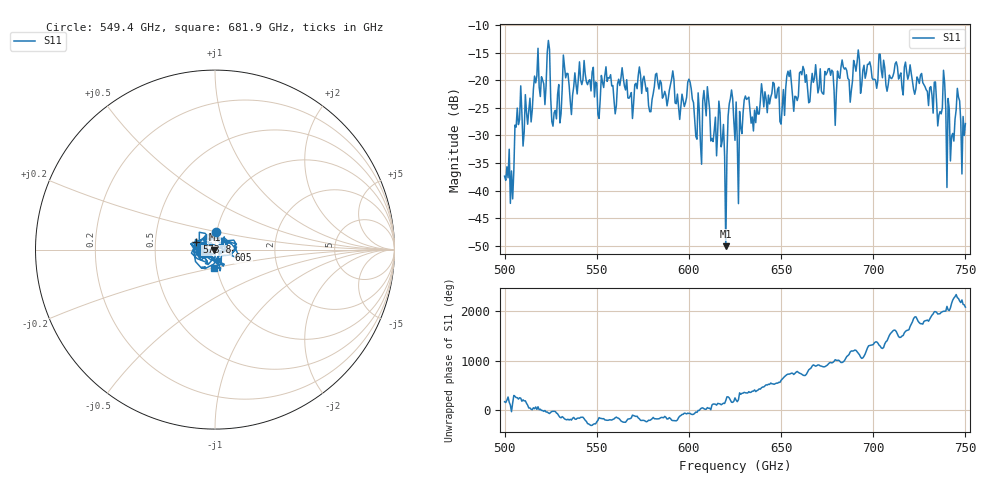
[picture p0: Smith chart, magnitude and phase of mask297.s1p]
!Created with skrf (http://scikit-rf.org).
# GHz S MA R 50.0
!freq magS11 angS11
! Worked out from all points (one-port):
!   401 points, 500 GHz to 750 GHz, reference 50 ohm
!   lowest |S11| = -50.1 dB at 620 GHz (marker M1), VSWR 1.01, Z = 49.7 - j0.0852 ohm
!   |S11| at or under -10 dB: start of sweep to end of sweep
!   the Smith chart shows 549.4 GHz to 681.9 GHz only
!   S11 on the Smith chart (normalised r, x): 549.4 GHz: 0.99, +0.19; 573.8 GHz: 0.81, +0.07; 605 GHz: 1.17, -0.01; 681.9 GHz: 0.97, -0.20
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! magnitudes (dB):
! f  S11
! 500 GHz  -37.4
! 503.8 GHz  -36.4
! 507.5 GHz  -28.0
! 513.8 GHz  -23.2
! 516.9 GHz  -20.4
! 523.8 GHz  -12.8
! 526.9 GHz  -25.9
! 531.2 GHz  -21.6
! 549.4 GHz  -20.3
! 562.5 GHz  -20.9
! 573.8 GHz  -19.0
! 593.8 GHz  -22.5
! 600.6 GHz  -20.3
! 605 GHz  -22.3
! 609.4 GHz  -26.4
! 620 GHz  -50.1
! 622.5 GHz  -23.3
! 625 GHz  -30.9
! 627.5 GHz  -25.6
! 631.2 GHz  -23.5
! 656.2 GHz  -22.9
! 681.9 GHz  -19.6
! 687.5 GHz  -24.0
! 718.8 GHz  -19.8
! 738.1 GHz  -18.2
! 741.2 GHz  -25.2
! 745.6 GHz  -21.4
! 750 GHz  -27.8
